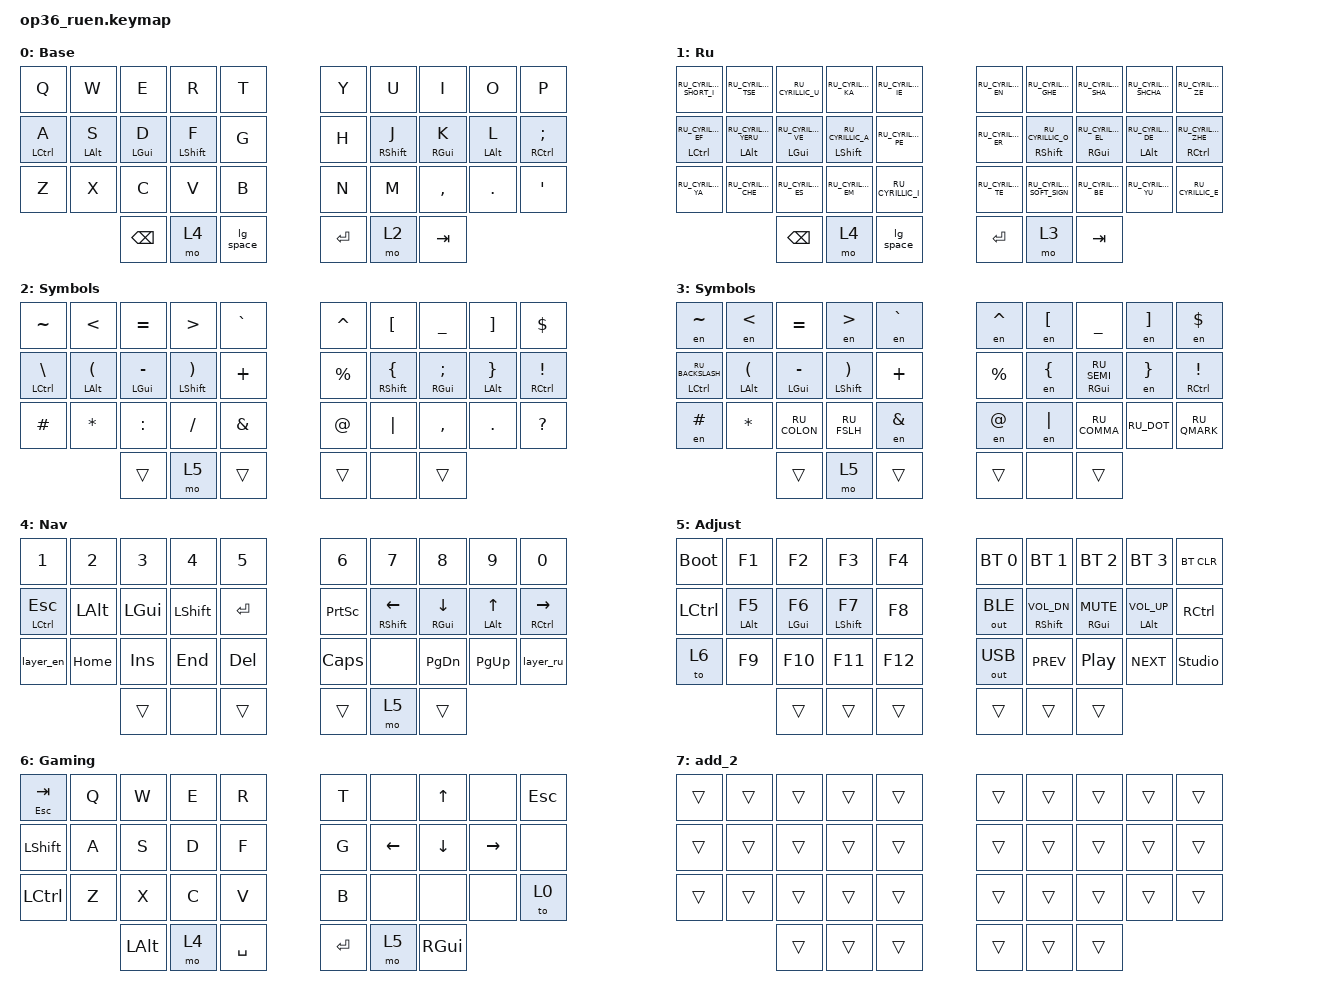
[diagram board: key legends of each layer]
#include "keys_ru.h"
#include "keys_ru.h"
#include <behaviors.dtsi>
#include <dt-bindings/zmk/bt.h>
#include <dt-bindings/zmk/keys.h>
#include <dt-bindings/zmk/outputs.h>

&mt {
    quick-tap-ms = <200>;
    flavor = "tap-preferred";
    require-prior-idle-ms = <125>;
};

/ {
    behaviors {
        hml: home_row_mod_left {
            compatible = "zmk,behavior-hold-tap";
            #binding-cells = <2>;
            flavor = "balanced";
            require-prior-idle-ms = <150>;
            tapping-term-ms = <280>;
            quick-tap-ms = <175>;
            bindings = <&kp>, <&kp>;

            hold-trigger-key-positions = <5 6 7 8 9 15 16 17 18 19 25 26 27 28 29 33 34 35 32>;
            hold-trigger-on-release;
        };

        hmr: home_row_mod_right {
            compatible = "zmk,behavior-hold-tap";
            #binding-cells = <2>;
            flavor = "balanced";
            require-prior-idle-ms = <150>;
            tapping-term-ms = <280>;
            quick-tap-ms = <175>;
            bindings = <&kp>, <&kp>;

            hold-trigger-key-positions = <0 1 2 3 4 10 11 12 13 14 20 21 22 23 24 30 31 32>;
            hold-trigger-on-release;
        };

        lg_space: lg_space {
            compatible = "zmk,behavior-mod-morph";
            label = "toggle 'ru' layer with LGUI";
            bindings = <&kp SPACE>, <&lg_tog>;

            #binding-cells = <0>;
            mods = <(MOD_LGUI|MOD_RGUI)>;
        };
    };

    combos {
        compatible = "zmk,combos";

        kha {
            bindings = <&kp RU_CYRILLIC_HA>;
            key-positions = <6 7>;
            layers = <1>;
        };

        hrdsgn {
            bindings = <&kp RU_CYRILLIC_HARD_SIGN>;
            key-positions = <7 8>;
            layers = <1>;
        };

        ru_io {
            bindings = <&kp RU_CYRILLIC_IO>;
            key-positions = <3 4>;
            layers = <1>;
        };

        cmbenru {
            bindings = <&tog 1>;
            key-positions = <2 3>;
            layers = <0 1>;
        };
    };

    macros {
        to_ru: to_ru {
            compatible = "zmk,behavior-macro";
            #binding-cells = <0>;
            bindings = <&kp LG(SPACE)>;
            label = "TO_RU";
            wait-ms = <0>;
            tap-ms = <30>;
        };

        to_en: to_en {
            compatible = "zmk,behavior-macro";
            #binding-cells = <0>;
            bindings = <&kp LG(SPACE)>;
            label = "TO_EN";
            wait-ms = <0>;
            tap-ms = <30>;
        };

        layer_en: layer_en {
            compatible = "zmk,behavior-macro";
            #binding-cells = <0>;
            bindings = <&to 0 &to_en>;
            label = "LAYER_EN";
            wait-ms = <0>;
            tap-ms = <30>;
        };

        layer_ru: layer_ru {
            compatible = "zmk,behavior-macro";
            #binding-cells = <0>;
            bindings = <&to 1 &to_ru>;
            label = "LAYER_RU";
            tap-ms = <30>;
            wait-ms = <0>;
        };

        en: en {
            compatible = "zmk,behavior-macro-one-param";
            #binding-cells = <1>;
            bindings =
                <&to_en>,
                <&macro_press>,
                <&macro_param_1to1 &kp MACRO_PLACEHOLDER>,
                <&macro_pause_for_release>,
                <&macro_release>,
                <&macro_param_1to1 &kp MACRO_PLACEHOLDER>,
                <&macro_tap>,
                <&to_ru>;

            label = "EN";
            wait-ms = <0>;
            tap-ms = <30>;
        };

        lg_tog: lg_tog {
            compatible = "zmk,behavior-macro";
            #binding-cells = <0>;
            bindings = <&kp LG(SPACE) &tog 1>;
            label = "LG_TOG";
        };
    };

    keymap {
        compatible = "zmk,keymap";

        en {
            bindings = <
  &kp Q         &kp W        &kp E        &kp R          &kp T                          &kp Y  &kp U         &kp I        &kp O        &kp P
  &hml LCTRL A  &hml LALT S  &hml LGUI D  &hml LSHFT F   &kp G                          &kp H  &hmr RSHFT J  &hmr RGUI K  &hmr LALT L  &hmr RCTRL SEMICOLON
  &kp Z         &kp X        &kp C        &kp V          &kp B                          &kp N  &kp M         &kp COMMA    &kp DOT      &kp SQT
                                          &kp BACKSPACE  &mo 4  &lg_space    &kp ENTER  &mo 2  &kp TAB
            >;

            display-name = "Base";
        };

        ru {
            bindings = <
  &kp RU_CYRILLIC_SHORT_I    &kp RU_CYRILLIC_TSE         &kp RU_CYRILLIC_U         &kp RU_CYRILLIC_KA        &kp RU_CYRILLIC_IE                          &kp RU_CYRILLIC_EN  &kp RU_CYRILLIC_GHE        &kp RU_CYRILLIC_SHA       &kp RU_CYRILLIC_SHCHA     &kp RU_CYRILLIC_ZE
  &hml LCTRL RU_CYRILLIC_EF  &hml LALT RU_CYRILLIC_YERU  &hml LGUI RU_CYRILLIC_VE  &hml LSHFT RU_CYRILLIC_A  &kp RU_CYRILLIC_PE                          &kp RU_CYRILLIC_ER  &hmr RSHFT RU_CYRILLIC_O   &hmr RGUI RU_CYRILLIC_EL  &hmr LALT RU_CYRILLIC_DE  &hmr RCTRL RU_CYRILLIC_ZHE
  &kp RU_CYRILLIC_YA         &kp RU_CYRILLIC_CHE         &kp RU_CYRILLIC_ES        &kp RU_CYRILLIC_EM        &kp RU_CYRILLIC_I                           &kp RU_CYRILLIC_TE  &kp RU_CYRILLIC_SOFT_SIGN  &kp RU_CYRILLIC_BE        &kp RU_CYRILLIC_YU        &kp RU_CYRILLIC_E
                                                                                   &kp BACKSPACE             &mo 4               &lg_space    &kp ENTER  &mo 3               &kp TAB
            >;

            display-name = "Ru";
        };

        sym_en {
            bindings = <
  &kp TILDE        &kp LT          &kp EQUAL        &kp GT           &kp GRAVE                    &kp CARET  &kp LBKT         &kp UNDER       &kp RBKT        &kp DLLR
  &hml LCTRL BSLH  &hml LALT LPAR  &hml LGUI MINUS  &hml LSHFT RPAR  &kp PLUS                     &kp PRCNT  &hmr RSHFT LBRC  &hmr RGUI SEMI  &hmr LALT RBRC  &hmr RCTRL EXCL
  &kp HASH         &kp STAR        &kp COLON        &kp FSLH         &kp AMPS                     &kp AT     &kp PIPE         &kp COMMA       &kp DOT         &kp QMARK
                                                    &trans           &mo 5      &trans    &trans  &none      &trans
            >;

            display-name = "Symbols";
        };

        sym_ru {
            bindings = <
  &en TILDE                &en LT          &kp EQUAL        &en GT           &en GRAVE                    &en CARET  &en LBKT  &kp UNDER          &en RBKT    &en DLLR
  &hml LCTRL RU_BACKSLASH  &hml LALT LPAR  &hml LGUI MINUS  &hml LSHFT RPAR  &kp PLUS                     &kp PRCNT  &en LBRC  &hmr RGUI RU_SEMI  &en RBRC    &hmr RCTRL EXCL
  &en HASH                 &kp STAR        &kp RU_COLON     &kp RU_FSLH      &en AMPS                     &en AT     &en PIPE  &kp RU_COMMA       &kp RU_DOT  &kp RU_QMARK
                                                            &trans           &mo 5      &trans    &trans  &none      &trans
            >;

            display-name = "Symbols";
        };

        nav {
            bindings = <
  &kp N1          &kp N2    &kp N3    &kp N4     &kp N5                        &kp N6           &kp N7           &kp N8          &kp N9        &kp N0
  &hml LCTRL ESC  &kp LALT  &kp LGUI  &kp LSHFT  &kp ENTER                     &kp PRINTSCREEN  &hmr RSHFT LEFT  &hmr RGUI DOWN  &hmr LALT UP  &hmr RCTRL RIGHT
  &layer_en       &kp HOME  &kp INS   &kp END    &kp DELETE                    &kp CAPS         &none            &kp PG_DN       &kp PG_UP     &layer_ru
                                      &trans     &none       &trans    &trans  &mo 5            &trans
            >;

            display-name = "Nav";
        };

        adj {
            bindings = <
  &bootloader  &kp F1        &kp F2        &kp F3         &kp F4                     &bt BT_SEL 0  &bt BT_SEL 1         &bt BT_SEL 2      &bt BT_SEL 3        &bt BT_CLR
  &kp LCTRL    &hml LALT F5  &hml LGUI F6  &hml LSHFT F7  &kp F8                     &out OUT_BLE  &hmr RSHFT C_VOL_DN  &hmr RGUI C_MUTE  &hmr LALT C_VOL_UP  &kp RCTRL
  &to 6        &kp F9        &kp F10       &kp F11        &kp F12                    &out OUT_USB  &kp C_PREV           &kp C_PP          &kp C_NEXT          &studio_unlock
                                           &trans         &trans   &trans    &trans  &trans        &trans
            >;

            display-name = "Adjust";
        };

        add_1 {
            bindings = <
  &mt ESC TAB  &kp Q  &kp W  &kp E         &kp R                          &kp T  &none     &kp UP    &none            &kp ESC
  &kp LSHFT    &kp A  &kp S  &kp D         &kp F                          &kp G  &kp LEFT  &kp DOWN  &kp RIGHT_ARROW  &none
  &kp LCTRL    &kp Z  &kp X  &kp C         &kp V                          &kp B  &none     &none     &none            &to 0
                             &kp LEFT_ALT  &mo 4  &kp SPACE    &kp ENTER  &mo 5  &kp RGUI
            >;

            label = "Gaming";
        };

        add_2 {
            bindings = <
  &trans  &trans  &trans  &trans  &trans                    &trans  &trans  &trans  &trans  &trans
  &trans  &trans  &trans  &trans  &trans                    &trans  &trans  &trans  &trans  &trans
  &trans  &trans  &trans  &trans  &trans                    &trans  &trans  &trans  &trans  &trans
                          &trans  &trans  &trans    &trans  &trans  &trans
            >;
        };
    };
};
